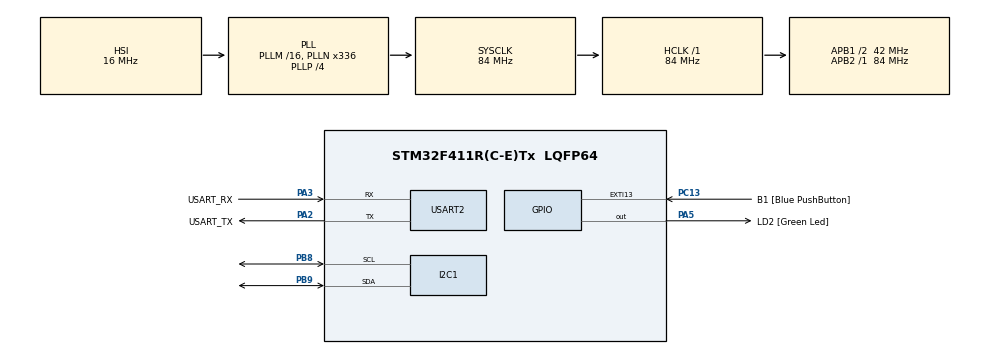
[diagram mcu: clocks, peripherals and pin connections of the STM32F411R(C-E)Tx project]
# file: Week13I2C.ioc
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I2C1.I2C_Mode=I2C_Fast
Mcu.Family=STM32F4
Mcu.Name=STM32F411R(C-E)Tx
Mcu.Package=LQFP64
NVIC.I2C1_ER_IRQn=true\:0\:0\:false\:false\:true\:true\:true
NVIC.I2C1_EV_IRQn=true\:0\:0\:false\:false\:true\:true\:true
NVIC.PriorityGroup=NVIC_PRIORITYGROUP_0
PA13.GPIO_Label=TMS
PA13.Mode=Serial_Wire
PA13.Signal=SYS_JTMS-SWDIO
PA14.GPIO_Label=TCK
PA14.Mode=Serial_Wire
PA14.Signal=SYS_JTCK-SWCLK
PA2.GPIO_Label=USART_TX
PA2.Mode=Asynchronous
PA2.Signal=USART2_TX
PA3.GPIO_Label=USART_RX
PA3.Mode=Asynchronous
PA3.Signal=USART2_RX
PA5.GPIO_Label=LD2 [Green Led]
PA5.Signal=GPIO_Output
PB3.GPIO_Label=SWO
PB3.Signal=SYS_JTDO-SWO
PB8.Mode=I2C
PB8.Signal=I2C1_SCL
PB9.Mode=I2C
PB9.Signal=I2C1_SDA
PC13-ANTI_TAMP.GPIO_Label=B1 [Blue PushButton]
PC13-ANTI_TAMP.GPIO_ModeDefaultEXTI=GPIO_MODE_IT_FALLING
PC13-ANTI_TAMP.Signal=GPXTI13
PC14-OSC32_IN.Mode=LSE-External-Oscillator
PC14-OSC32_IN.Signal=RCC_OSC32_IN
PC15-OSC32_OUT.Mode=LSE-External-Oscillator
PC15-OSC32_OUT.Signal=RCC_OSC32_OUT
PH0\ -\ OSC_IN.Mode=HSE-External-Clock-Source
PH0\ -\ OSC_IN.Signal=RCC_OSC_IN
PH1\ -\ OSC_OUT.Mode=HSE-External-Clock-Source
PH1\ -\ OSC_OUT.Signal=RCC_OSC_OUT
ProjectManager.HeapSize=0x200
ProjectManager.StackSize=0x400
ProjectManager.TargetToolchain=STM32CubeIDE
RCC.48MHZClocksFreq_Value=84000000
RCC.AHBFreq_Value=84000000
RCC.APB1CLKDivider=RCC_HCLK_DIV2
RCC.APB1Freq_Value=42000000
RCC.APB1TimFreq_Value=84000000
RCC.APB2Freq_Value=84000000
RCC.APB2TimFreq_Value=84000000
RCC.CortexFreq_Value=84000000
RCC.FLatency-AdvancedSettings=FLASH_LATENCY_2
RCC.HCLKFreq_Value=84000000
RCC.HSE_VALUE=8000000
RCC.HSI_VALUE=16000000
RCC.PLLN=336
RCC.PLLP=RCC_PLLP_DIV4
RCC.SYSCLKFreq_VALUE=84000000
RCC.SYSCLKSource=RCC_SYSCLKSOURCE_PLLCLK
RCC.VCOOutputFreq_Value=336000000
USART2.VirtualMode=VM_ASYNC
board=NUCLEO-F411RE

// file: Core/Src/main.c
/* USER CODE BEGIN Header */
/**
 ******************************************************************************
 * @file           : main.c
 * @brief          : Main program body
 ******************************************************************************
 * @attention
 *
 * <h2><center>&copy; Copyright (c) 2021 STMicroelectronics.
 * All rights reserved.</center></h2>
 *
 * This software component is licensed by ST under BSD 3-Clause license,
 * the "License"; You may not use this file except in compliance with the
 * License. You may obtain a copy of the License at:
 *                        opensource.org/licenses/BSD-3-Clause
 *
 ******************************************************************************
 */
/* USER CODE END Header */
#include "main.h"

/* USER CODE BEGIN PD */
#define EEPROM_ADDR 0b10100000
#define IOEXPD_ADDR 0b01000000
/* USER CODE END PD */

I2C_HandleTypeDef hi2c1;

UART_HandleTypeDef huart2;

/* USER CODE BEGIN PV */
uint8_t eepromExampleWriteFlag = 0;
uint8_t eepromExampleReadFlag = 0;
uint8_t IOExpdrExampleWriteFlag = 0;
uint8_t IOExpdrExampleReadFlag = 0;
uint8_t eepromDataReadBack[1];
uint8_t IOExpdrDataReadBack;
uint8_t IOExpdrDataWrite;

uint8_t B1_Button = 1;
uint8_t B1_Button_state[2] = {1};

uint32_t TimeStamp = 0;

/* USER CODE END PV */

void SystemClock_Config(void);
static void MX_GPIO_Init(void);
static void MX_USART2_UART_Init(void);
static void MX_I2C1_Init(void);
/* USER CODE BEGIN PFP */
void EEPROMWrite(uint8_t  WriteEEPROMdata);
void EEPROMRead(uint8_t *ReadEEPROMData, uint16_t len);

void IOExpenderInit();
void IOExpenderRead(uint8_t *Rdata);
void IOExpenderWrite(uint8_t Wdata);

/* USER CODE END PFP */

int main(void)
{

  /* MCU Configuration--------------------------------------------------------*/

  /* Reset of all peripherals, Initializes the Flash interface and the Systick. */
  HAL_Init();

  /* Configure the system clock */
  SystemClock_Config();

  /* Initialize all configured peripherals */
  MX_GPIO_Init();
  MX_USART2_UART_Init();
  MX_I2C1_Init();
  /* USER CODE BEGIN 2 */
  HAL_Delay(100);
  IOExpenderInit();
  /* USER CODE END 2 */

  /* Infinite loop */
  /* USER CODE BEGIN WHILE */
	while (1)
	{
		if(HAL_GetTick() - TimeStamp > 100)
		{
			TimeStamp = HAL_GetTick();
			B1_Button = HAL_GPIO_ReadPin(GPIOC, GPIO_PIN_13);
			B1_Button_state[1] = B1_Button;
			if(B1_Button_state[1] == 1 && B1_Button_state[0] == 0)
			{
				IOExpdrExampleReadFlag = 1; // Read Button
				IOExpenderRead(&IOExpdrDataReadBack);
				HAL_Delay(10);
				eepromExampleWriteFlag = 1; // Write button into EEPROM
				EEPROMWrite(IOExpdrDataReadBack);
				HAL_Delay(10);
				IOExpdrDataWrite = IOExpdrDataReadBack;
				IOExpdrExampleWriteFlag = 1; // Write button(Show output to LED)
				IOExpenderWrite(IOExpdrDataWrite);
				HAL_Delay(10);
			}
			eepromExampleReadFlag = 1; // Read Button from EEPROM
			EEPROMRead(eepromDataReadBack, 1);
			HAL_Delay(10);
			IOExpdrExampleWriteFlag = 1; // Write button(Show output to LED)
			IOExpenderWrite(eepromDataReadBack[0]);
			B1_Button_state[0] = B1_Button_state[1];
		}

    /* USER CODE END WHILE */

	}
}

void SystemClock_Config(void)
{
  RCC_OscInitTypeDef RCC_OscInitStruct = {0};
  RCC_ClkInitTypeDef RCC_ClkInitStruct = {0};

  /** Configure the main internal regulator output voltage
  */
  __HAL_RCC_PWR_CLK_ENABLE();
  __HAL_PWR_VOLTAGESCALING_CONFIG(PWR_REGULATOR_VOLTAGE_SCALE1);
  /** Initializes the RCC Oscillators according to the specified parameters
  * in the RCC_OscInitTypeDef structure.
  */
  RCC_OscInitStruct.OscillatorType = RCC_OSCILLATORTYPE_HSI;
  RCC_OscInitStruct.HSIState = RCC_HSI_ON;
  RCC_OscInitStruct.HSICalibrationValue = RCC_HSICALIBRATION_DEFAULT;
  RCC_OscInitStruct.PLL.PLLState = RCC_PLL_ON;
  RCC_OscInitStruct.PLL.PLLSource = RCC_PLLSOURCE_HSI;
  RCC_OscInitStruct.PLL.PLLM = 16;
  RCC_OscInitStruct.PLL.PLLN = 336;
  RCC_OscInitStruct.PLL.PLLP = RCC_PLLP_DIV4;
  RCC_OscInitStruct.PLL.PLLQ = 4;
  if (HAL_RCC_OscConfig(&RCC_OscInitStruct) != HAL_OK)
  {
    Error_Handler();
  }
  /** Initializes the CPU, AHB and APB buses clocks
  */
  RCC_ClkInitStruct.ClockType = RCC_CLOCKTYPE_HCLK|RCC_CLOCKTYPE_SYSCLK
                              |RCC_CLOCKTYPE_PCLK1|RCC_CLOCKTYPE_PCLK2;
  RCC_ClkInitStruct.SYSCLKSource = RCC_SYSCLKSOURCE_PLLCLK;
  RCC_ClkInitStruct.AHBCLKDivider = RCC_SYSCLK_DIV1;
  RCC_ClkInitStruct.APB1CLKDivider = RCC_HCLK_DIV2;
  RCC_ClkInitStruct.APB2CLKDivider = RCC_HCLK_DIV1;

  if (HAL_RCC_ClockConfig(&RCC_ClkInitStruct, FLASH_LATENCY_2) != HAL_OK)
  {
    Error_Handler();
  }
}

static void MX_I2C1_Init(void)
{

  hi2c1.Instance = I2C1;
  hi2c1.Init.ClockSpeed = 400000;
  hi2c1.Init.DutyCycle = I2C_DUTYCYCLE_2;
  hi2c1.Init.OwnAddress1 = 0;
  hi2c1.Init.AddressingMode = I2C_ADDRESSINGMODE_7BIT;
  hi2c1.Init.DualAddressMode = I2C_DUALADDRESS_DISABLE;
  hi2c1.Init.OwnAddress2 = 0;
  hi2c1.Init.GeneralCallMode = I2C_GENERALCALL_DISABLE;
  hi2c1.Init.NoStretchMode = I2C_NOSTRETCH_DISABLE;
  if (HAL_I2C_Init(&hi2c1) != HAL_OK)
  {
    Error_Handler();
  }

}

static void MX_USART2_UART_Init(void)
{

  huart2.Instance = USART2;
  huart2.Init.BaudRate = 115200;
  huart2.Init.WordLength = UART_WORDLENGTH_8B;
  huart2.Init.StopBits = UART_STOPBITS_1;
  huart2.Init.Parity = UART_PARITY_NONE;
  huart2.Init.Mode = UART_MODE_TX_RX;
  huart2.Init.HwFlowCtl = UART_HWCONTROL_NONE;
  huart2.Init.OverSampling = UART_OVERSAMPLING_16;
  if (HAL_UART_Init(&huart2) != HAL_OK)
  {
    Error_Handler();
  }

}

static void MX_GPIO_Init(void)
{
  GPIO_InitTypeDef GPIO_InitStruct = {0};

  /* GPIO Ports Clock Enable */
  __HAL_RCC_GPIOC_CLK_ENABLE();
  __HAL_RCC_GPIOH_CLK_ENABLE();
  __HAL_RCC_GPIOA_CLK_ENABLE();
  __HAL_RCC_GPIOB_CLK_ENABLE();

  /*Configure GPIO pin Output Level */
  HAL_GPIO_WritePin(LD2_GPIO_Port, LD2_Pin, GPIO_PIN_RESET);

  /*Configure GPIO pin : B1_Pin */
  GPIO_InitStruct.Pin = B1_Pin;
  GPIO_InitStruct.Mode = GPIO_MODE_IT_FALLING;
  GPIO_InitStruct.Pull = GPIO_NOPULL;
  HAL_GPIO_Init(B1_GPIO_Port, &GPIO_InitStruct);

  /*Configure GPIO pin : LD2_Pin */
  GPIO_InitStruct.Pin = LD2_Pin;
  GPIO_InitStruct.Mode = GPIO_MODE_OUTPUT_PP;
  GPIO_InitStruct.Pull = GPIO_NOPULL;
  GPIO_InitStruct.Speed = GPIO_SPEED_FREQ_LOW;
  HAL_GPIO_Init(LD2_GPIO_Port, &GPIO_InitStruct);

}

void EEPROMWrite(uint8_t WriteEEPROMdata) {
	if (eepromExampleWriteFlag && hi2c1.State == HAL_I2C_STATE_READY)
	{
		static uint8_t data[1];
		data[0] = WriteEEPROMdata;
		HAL_I2C_Mem_Write_IT(&hi2c1, EEPROM_ADDR, 0x05, I2C_MEMADD_SIZE_16BIT, data, 1);
		eepromExampleWriteFlag = 0;
	}
}
void EEPROMRead(uint8_t *ReadEEPROMData, uint16_t len) {
	if (eepromExampleReadFlag && hi2c1.State == HAL_I2C_STATE_READY)
	{
		HAL_I2C_Mem_Read_IT(&hi2c1, EEPROM_ADDR, 0x05, I2C_MEMADD_SIZE_16BIT, ReadEEPROMData, len);
		eepromExampleReadFlag = 0;
	}
}
void IOExpenderInit() {
	//Init All
	static uint8_t Setting[0x16] = { 0xFF, 0x00, 0x00, 0x00, 0x00, 0x00, 0x00,
			0x00, 0x00, 0x00, 0x00, 0x00, 0xFF, 0x00, 0x00, 0x00, 0x00, 0x00,
			0x00, 0x00, 0x00, 0x00 };
	HAL_I2C_Mem_Write(&hi2c1, IOEXPD_ADDR, 0x00, I2C_MEMADD_SIZE_8BIT, Setting, 0x16, 100);
}
void IOExpenderRead(uint8_t *ReadIOEData) {
	if (IOExpdrExampleReadFlag && hi2c1.State == HAL_I2C_STATE_READY)
	{
		HAL_I2C_Mem_Read_IT(&hi2c1, IOEXPD_ADDR, 0x12, I2C_MEMADD_SIZE_8BIT, ReadIOEData, 1);
		IOExpdrExampleReadFlag = 0;
	}
}
void IOExpenderWrite(uint8_t WriteIOEdata) {
	if (IOExpdrExampleWriteFlag && hi2c1.State == HAL_I2C_STATE_READY)
	{
		static uint8_t data; // data is not change while it has new Wdata.
		data = WriteIOEdata;
		HAL_I2C_Mem_Write_IT(&hi2c1, IOEXPD_ADDR, 0x15, I2C_MEMADD_SIZE_8BIT, &data, 1);
		IOExpdrExampleWriteFlag = 0;
	}
}
/* USER CODE END 4 */

void Error_Handler(void)
{
	__disable_irq();
	while (1) {
	}
}

/************************ (C) COPYRIGHT STMicroelectronics *****END OF FILE****/
